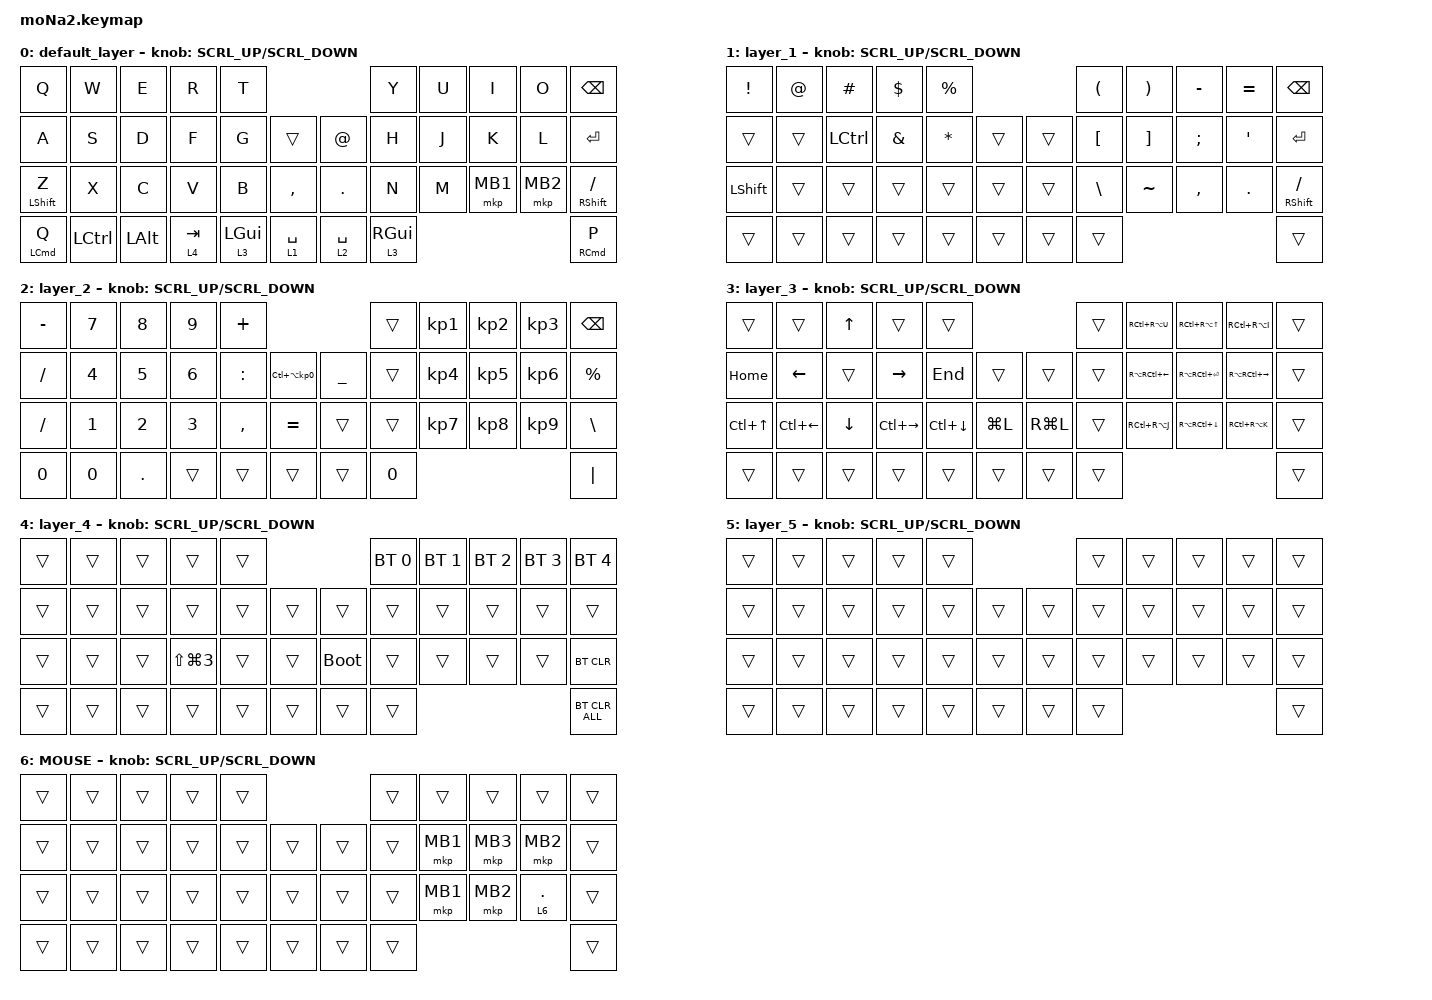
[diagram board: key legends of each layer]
#include <behaviors.dtsi>
#include <dt-bindings/zmk/bt.h>
#include <dt-bindings/zmk/keys.h>
#include <dt-bindings/zmk/pointing.h>

#define ZMK_POINTING_DEFAULT_SCRL_VAL 100
#define MOUSE 6

&mt {
    flavor = "balanced";
    quick-tap-ms = <0>;
};

/ {
    combos { compatible = "zmk,combos"; };

    macros {
        to_layer_0: to_layer_0 {
            compatible = "zmk,behavior-macro-one-param";
            #binding-cells = <1>;
            bindings = <&to 0 &macro_param_1to1 &kp MACRO_PLACEHOLDER>;
            label = "TO_LAYER_0";
        };
    };

    behaviors {
        lt_to_layer_0: lt_to_layer_0 {
            compatible = "zmk,behavior-hold-tap";
            label = "LAYER_TAP_TO_0";
            bindings = <&mo>, <&to_layer_0>;

            #binding-cells = <2>;
            tapping-term-ms = <200>;
        };

        mouse_scroll: mouse_wheel_scrl {
            compatible = "zmk,behavior-sensor-rotate-var";
            #sensor-binding-cells = <2>;
            bindings = <&msc>, <&msc>;

            // 追加: スクロールのタップ時間を設定 (20ms)

            tap-ms = <20>;
        };
    };

    keymap {
        compatible = "zmk,keymap";

        default_layer {
            bindings = <
&kp Q               &kp W             &kp E         &kp R      &kp T                                       &kp Y            &kp U  &kp I     &kp O     &kp BACKSPACE
&kp A               &kp S             &kp D         &kp F      &kp G           &trans         &kp AT_SIGN  &kp H            &kp J  &kp K     &kp L     &kp ENTER
&mt LEFT_SHIFT Z    &kp X             &kp C         &kp V      &kp B           &kp COMMA      &kp PERIOD   &kp N            &kp M  &mkp MB1  &mkp MB2  &mt RIGHT_SHIFT SLASH
&mt LEFT_COMMAND Q  &kp LEFT_CONTROL  &kp LEFT_ALT  &lt 4 TAB  &lt 3 LEFT_GUI  &lt 1 SPACE    &lt 2 SPACE  &lt 3 RIGHT_GUI                             &mt RIGHT_COMMAND P
            >;

            sensor-bindings = <&mouse_scroll SCRL_UP SCRL_DOWN>;
        };

        layer_1 {
            bindings = <
&kp EXCLAMATION  &kp AT_SIGN  &kp HASH   &kp DOLLAR     &kp PERCENT                     &kp LEFT_PARENTHESIS  &kp RIGHT_PARENTHESIS  &kp MINUS      &kp EQUAL   &kp BACKSPACE
&trans           &trans       &kp LCTRL  &kp AMPERSAND  &kp ASTERISK  &trans    &trans  &kp LEFT_BRACKET      &kp RIGHT_BRACKET      &kp SEMICOLON  &kp SQT     &kp ENTER
&kp LEFT_SHIFT   &trans       &trans     &trans         &trans        &trans    &trans  &kp BACKSLASH         &kp TILDE              &kp COMMA      &kp PERIOD  &mt RIGHT_SHIFT SLASH
&trans           &trans       &trans     &trans         &trans        &trans    &trans  &trans                                                                  &trans
            >;

            sensor-bindings = <&mouse_scroll SCRL_UP SCRL_DOWN>;
        };

        layer_2 {
            bindings = <
&kp MINUS  &kp N7        &kp N8        &kp N9        &kp PLUS                                              &trans  &kp KP_NUMBER_1  &kp KP_NUMBER_2  &kp KP_NUMBER_3  &kp BACKSPACE
&kp SLASH  &kp NUMBER_4  &kp N5        &kp NUMBER_6  &kp COLON  &kp LC(LA(KP_NUMBER_0))    &kp UNDERSCORE  &trans  &kp KP_NUMBER_4  &kp KP_NUMBER_5  &kp KP_NUMBER_6  &kp PERCENT
&kp SLASH  &kp NUMBER_1  &kp NUMBER_2  &kp NUMBER_3  &kp COMMA  &kp EQUAL                  &trans          &trans  &kp KP_NUMBER_7  &kp KP_NUMBER_8  &kp KP_NUMBER_9  &kp BACKSLASH
&kp N0     &kp N0        &kp PERIOD    &trans        &trans     &trans                     &trans          &kp N0                                                     &kp PIPE
            >;

            sensor-bindings = <&mouse_scroll SCRL_UP SCRL_DOWN>;
        };

        layer_3 {
            bindings = <
&trans            &trans              &kp UP_ARROW    &trans               &trans                                      &trans  &kp RC(RA(U))           &kp RC(RA(UP_ARROW))    &kp RC(RA(I))            &trans
&kp HOME          &kp LEFT_ARROW      &trans          &kp RIGHT_ARROW      &kp END             &trans       &trans     &trans  &kp RA(RC(LEFT_ARROW))  &kp RA(RC(ENTER))       &kp RA(RC(RIGHT_ARROW))  &trans
&kp LC(UP_ARROW)  &kp LC(LEFT_ARROW)  &kp DOWN_ARROW  &kp LC(RIGHT_ARROW)  &kp LC(DOWN_ARROW)  &kp LG(L)    &kp RG(L)  &trans  &kp RC(RA(J))           &kp RA(RC(DOWN_ARROW))  &kp RC(RA(K))            &trans
&trans            &trans              &trans          &trans               &trans              &trans       &trans     &trans                                                                           &trans
            >;

            sensor-bindings = <&mouse_scroll SCRL_UP SCRL_DOWN>;
        };

        layer_4 {
            bindings = <
&trans  &trans  &trans  &trans                &trans                         &bt BT_SEL 0  &bt BT_SEL 1  &bt BT_SEL 2  &bt BT_SEL 3  &bt BT_SEL 4
&trans  &trans  &trans  &trans                &trans  &trans    &trans       &trans        &trans        &trans        &trans        &trans
&trans  &trans  &trans  &kp LS(LG(NUMBER_3))  &trans  &trans    &bootloader  &trans        &trans        &trans        &trans        &bt BT_CLR
&trans  &trans  &trans  &trans                &trans  &trans    &trans       &trans                                                  &bt BT_CLR_ALL
            >;

            sensor-bindings = <&mouse_scroll SCRL_UP SCRL_DOWN>;
        };

        layer_5 {
            bindings = <
&trans  &trans  &trans  &trans  &trans                    &trans  &trans  &trans  &trans  &trans
&trans  &trans  &trans  &trans  &trans  &trans    &trans  &trans  &trans  &trans  &trans  &trans
&trans  &trans  &trans  &trans  &trans  &trans    &trans  &trans  &trans  &trans  &trans  &trans
&trans  &trans  &trans  &trans  &trans  &trans    &trans  &trans                          &trans
            >;

            sensor-bindings = <&mouse_scroll SCRL_UP SCRL_DOWN>;
        };

        MOUSE {
            bindings = <
&trans  &trans  &trans  &trans  &trans                    &trans  &trans    &trans    &trans        &trans
&trans  &trans  &trans  &trans  &trans  &trans    &trans  &trans  &mkp MB1  &mkp MB3  &mkp MB2      &trans
&trans  &trans  &trans  &trans  &trans  &trans    &trans  &trans  &mkp MB1  &mkp MB2  &lt 6 PERIOD  &trans
&trans  &trans  &trans  &trans  &trans  &trans    &trans  &trans                                    &trans
            >;

            sensor-bindings = <&mouse_scroll SCRL_UP SCRL_DOWN>;
        };
    };
};
